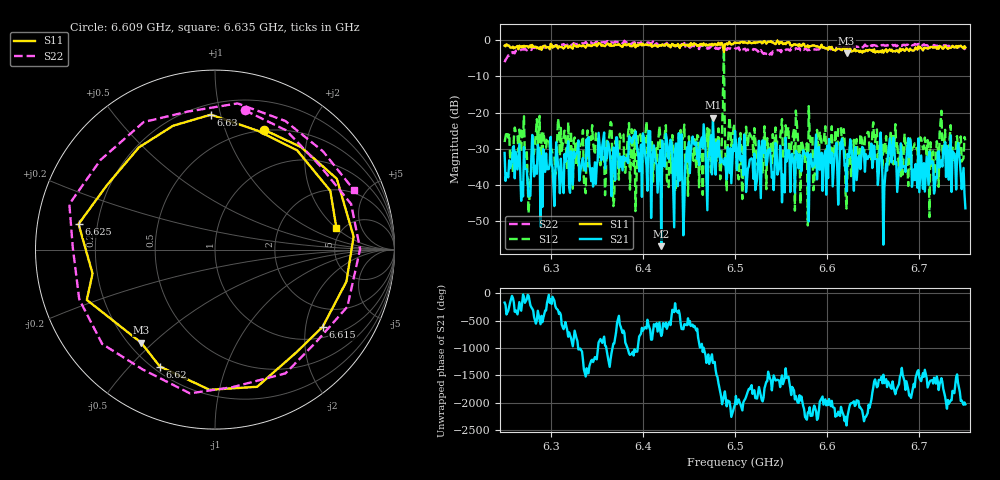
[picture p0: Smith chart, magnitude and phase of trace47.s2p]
# Hz S RI R 50
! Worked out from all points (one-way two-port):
!   401 points, 6.25 GHz to 6.75 GHz, reference 50 ohm
!   highest |S21| = -21.42 dB at 6.476 GHz (marker M1); lowest = -57.0 dB at 6.42 GHz (marker M2)
!   lowest |S11| = -3.6 dB at 6.621 GHz (marker M3), VSWR 4.92, Z = 12.4 - j22.9 ohm
!   |S11| at or under -10 dB: nowhere
!   |S22| runs from -6.0 to -0.1 dB; largest |S21 - S12| = 0.73
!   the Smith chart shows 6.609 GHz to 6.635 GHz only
!   S11 on the Smith chart (normalised r, x): 6.609 GHz: 0.49, +1.37; 6.615 GHz: 1.32, -2.49; 6.62 GHz: 0.23, -0.61; 6.625 GHz: 0.13, +0.09; 6.63 GHz: 0.27, +0.93; 6.635 GHz: 4.40, +2.04
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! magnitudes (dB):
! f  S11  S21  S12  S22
! 6.25 GHz  -1.5  -31.2  -28.1  -6.0
! 6.269 GHz  -1.6  -39.4  -24.4  -2.5
! 6.278 GHz  -1.4  -43.0  -38.7  -2.5
! 6.285 GHz  -2.2  -36.9  -21.8  -2.2
! 6.334 GHz  -1.6  -33.4  -28.1  -0.8
! 6.39 GHz  -1.2  -26.4  -34.8  -0.6
! 6.418 GHz  -1.3  -32.7  -23.7  -1.5
! 6.42 GHz  -1.5  -57.0  -44.6  -1.1
! 6.476 GHz  -1.4  -21.4  -28.7  -2.2
! 6.5 GHz  -0.6  -25.1  -27.4  -2.3
! 6.584 GHz  -1.4  -35.1  -26.6  -2.3
! 6.609 GHz  -2.8  -31.4  -24.8  -2.0
! 6.615 GHz  -2.6  -30.1  -24.0  -1.9
! 6.62 GHz  -2.9  -34.4  -42.4  -1.8
! 6.621 GHz  -3.6  -41.8  -46.6  -2.2
! 6.625 GHz  -2.2  -27.4  -28.4  -2.0
! 6.63 GHz  -2.5  -31.2  -34.2  -2.1
! 6.635 GHz  -3.3  -31.9  -35.9  -1.5
! 6.662 GHz  -2.9  -41.0  -31.4  -1.4
! 6.668 GHz  -2.5  -27.2  -32.9  -1.6
! 6.729 GHz  -1.8  -37.8  -34.4  -1.4
! 6.75 GHz  -2.0  -46.5  -27.7  -2.6
